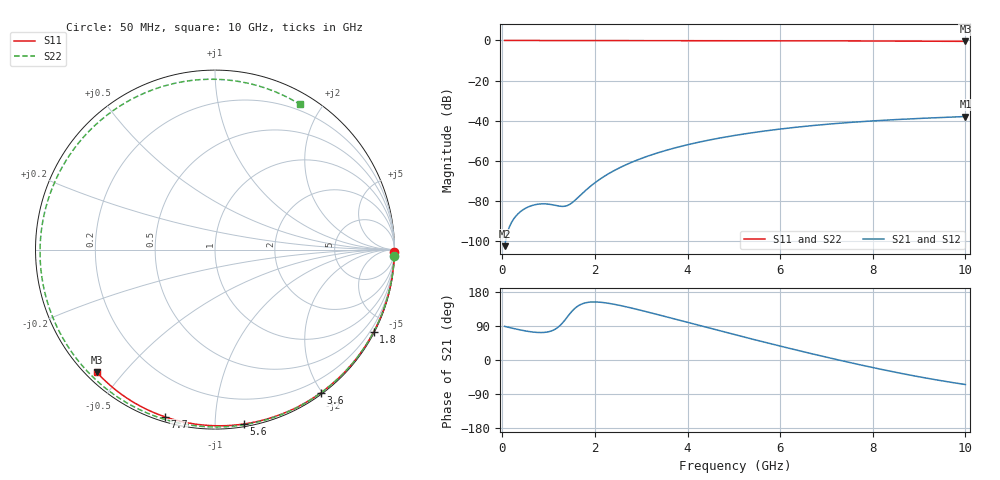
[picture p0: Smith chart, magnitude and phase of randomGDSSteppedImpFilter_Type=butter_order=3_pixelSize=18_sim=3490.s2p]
! freq	dB(S11)	phase(S11)	dB(S12)	phase(S12)
!  dB(S21)	phase(S21)	dB(S22)	phase(S22)
!S-par simulation data
#  GHz  S  DB  R 50
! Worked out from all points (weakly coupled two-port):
!   200 points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, 50 MHz to 10 GHz, reference 50 ohm
!   highest |S21| = -37.92 dB at 10 GHz (marker M1); lowest = -102.6 dB at 50 MHz (marker M2)
!   lowest |S11| = -0.5 dB at 10 GHz (marker M3), VSWR 38.22, Z = 1.54 - j21.2 ohm
!   |S11| at or under -10 dB: nowhere
!   |S22| runs from -0.6 to 0.0 dB; largest |S21 - S12| = 0
!   S11 on the Smith chart (normalised r, x): 50 MHz: open; 1.8 GHz: 0.04, -4.10; 3.6 GHz: 0.02, -1.98; 5.6 GHz: 0.02, -1.18; 7.7 GHz: 0.02, -0.74; 10 GHz: 0.03, -0.42
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0.05  -0.00 -0.8  -102.56 88.8  -102.56 88.8  -0.00 -2.2
0.35  -0.01 -5.4  -86.20 80.3  -86.20 80.3  -0.02 -15.1
0.7  -0.01 -10.7  -81.93 73.3  -81.93 73.3  -0.04 -30.0
1.15  -0.02 -17.6  -82.23 81.9  -82.23 81.9  -0.06 -48.5
1.55  -0.03 -23.6  -80.10 134.3  -80.10 134.3  -0.08 -64.2
1.75  -0.03 -26.6  -75.81 149.3  -75.81 149.3  -0.08 -71.8
1.8  -0.03 -27.4  -74.76 151.0  -74.76 151.0  -0.09 -73.6
2.1  -0.04 -31.8  -69.30 152.6  -69.30 152.6  -0.10 -84.4
2.45  -0.05 -37.0  -64.45 146.2  -64.45 146.2  -0.11 -96.5
2.9  -0.06 -43.5  -59.73 133.9  -59.73 133.9  -0.12 -111.1
3.4  -0.07 -50.7  -55.72 118.5  -55.72 118.5  -0.14 -126.2
3.6  -0.07 -53.5  -54.37 112.1  -54.37 112.1  -0.14 -132.0
4.3  -0.09 -63.2  -50.45 89.7  -50.45 89.7  -0.17 -151.3
5.05  -0.11 -73.4  -47.24 65.9  -47.24 65.9  -0.20 -170.8
5.6  -0.13 -80.6  -45.35 48.9  -45.35 48.9  -0.23 175.4
6.15  -0.15 -87.6  -43.77 32.2  -43.77 32.2  -0.26 161.7
6.7  -0.18 -94.5  -42.44 16.0  -42.44 16.0  -0.30 148.1
7.7  -0.24 -106.8  -40.56 -12.0  -40.56 -12.0  -0.36 122.7
8.35  -0.29 -114.5  -39.64 -28.9  -39.64 -28.9  -0.41 105.6
8.8  -0.33 -119.8  -39.10 -39.7  -39.10 -39.7  -0.44 93.5
9.2  -0.37 -124.6  -38.68 -48.7  -38.68 -48.7  -0.48 82.4
10  -0.45 -134.0  -37.92 -64.7  -37.92 -64.7  -0.56 59.7
